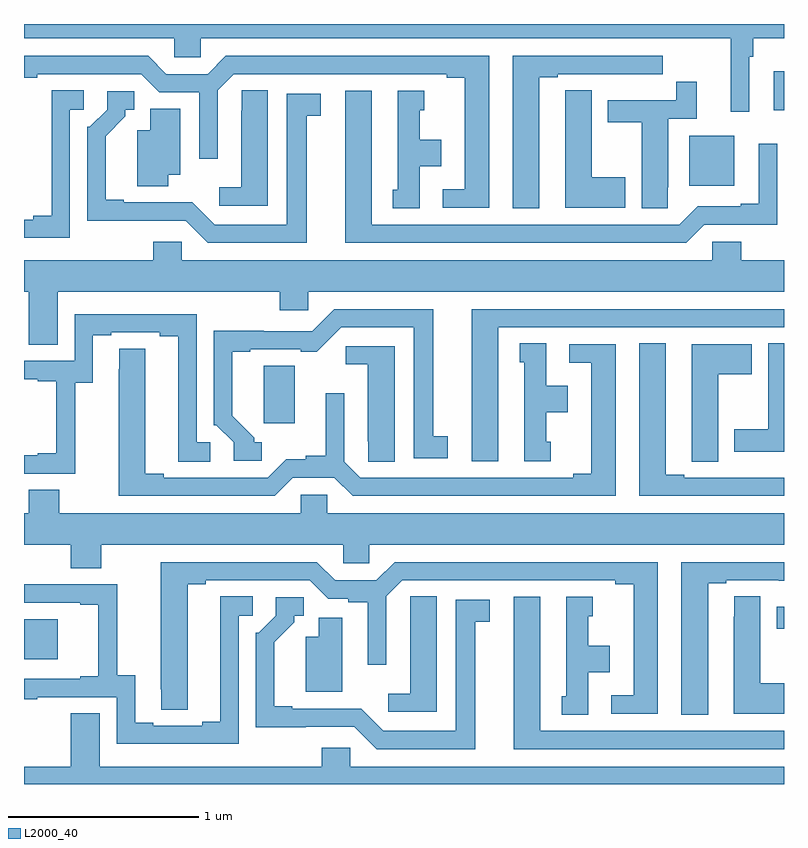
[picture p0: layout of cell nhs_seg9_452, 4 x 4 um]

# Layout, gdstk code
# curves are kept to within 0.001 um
import gdstk
lib = gdstk.Library(unit=1e-6, precision=1e-09)
def R(c, l, rs):  # rectangles x0, y0, x1, y1
    for r in rs: c.add(gdstk.rectangle(r[:2], r[2:], *l))
def P(c, l, *ps):  # polygons
    for p in ps: c.add(gdstk.Polygon(p, *l))
L2000_40 = (2000, 40)

nhs_seg9_452 = lib.new_cell('nhs_seg9_452')
R(nhs_seg9_452, L2000_40, [(133,1189.157,133.177,1189.366), (136.961,1189.318,137,1189.434), (136.502,1191.65,136.738,1191.913), (136.946,1192.046,137,1192.252)])
P(nhs_seg9_452, L2000_40, [(136.818,1192.328),(136.838,1192.328),(136.838,1192.424),(137,1192.424),(137,1192.5),(133,1192.5),(133,1192.424),(133.791,1192.424),(133.791,1192.326),(133.929,1192.326),(133.929,1192.424),(136.721,1192.424),(136.721,1192.038),(136.818,1192.038)],
  [(135.712,1192.221),(135.808,1192.221),(135.808,1192.236),(136.084,1192.236),(136.084,1192.235),(136.25,1192.235),(136.25,1192.236),(136.363,1192.236),(136.363,1192.332),(135.572,1192.332),(135.572,1191.529),(135.712,1191.529)],
  [(135.448,1192.332),(134.063,1192.332),(133.967,1192.236),(133.749,1192.236),(133.653,1192.332),(133,1192.332),(133,1192.216),(133.069,1192.216),(133.069,1192.236),(133.617,1192.236),(133.713,1192.14),(133.923,1192.14),(133.923,1191.792),(134.019,1191.792),(134.019,1192.152),(134.103,1192.236),(135.224,1192.236),(135.224,1192.216),(135.32,1192.216),(135.32,1191.63),(135.204,1191.63),(135.204,1191.534),(135.448,1191.534)],
  [(136.389,1191.64),(136.39,1191.64),(136.39,1192.002),(136.541,1192.002),(136.541,1192.195),(136.432,1192.195),(136.432,1192.098),(136.073,1192.098),(136.073,1191.982),(136.25,1191.982),(136.25,1191.529),(136.389,1191.529)],
  [(134.284,1192.151),(134.145,1192.151),(134.145,1192.043),(134.144,1192.043),(134.144,1191.64),(134.028,1191.64),(134.028,1191.543),(134.284,1191.543)],
  [(136.165,1191.693),(135.988,1191.693),(135.988,1192.151),(135.849,1192.151),(135.849,1192.043),(135.848,1192.043),(135.848,1191.533),(136.165,1191.533)],
  [(133.242,1192.05),(133.315,1192.05),(133.315,1192.151),(133.145,1192.151),(133.145,1191.491),(133.049,1191.491),(133.049,1191.471),(133,1191.471),(133,1191.375),(133.242,1191.375)],
  [(135.082,1191.752),(135.196,1191.752),(135.196,1191.892),(135.082,1191.892),(135.082,1192.047),(135.106,1192.047),(135.106,1192.15),(134.966,1192.15),(134.966,1191.627),(134.942,1191.627),(134.942,1191.529),(135.082,1191.529)],
  [(136.581,1191.444),(136.965,1191.444),(136.965,1191.871),(136.868,1191.871),(136.868,1191.553),(136.772,1191.553),(136.772,1191.54),(136.545,1191.54),(136.449,1191.444),(134.83,1191.444),(134.83,1192.15),(134.69,1192.15),(134.69,1191.348),(136.485,1191.348)],
  [(134.488,1192.018),(134.563,1192.018),(134.563,1192.134),(134.384,1192.134),(134.384,1191.444),(134.004,1191.444),(133.886,1191.562),(133.525,1191.561),(133.525,1191.574),(133.429,1191.574),(133.429,1191.91),(133.534,1192.015),(133.534,1192.05),(133.579,1192.05),(133.579,1192.146),(133.437,1192.146),(133.437,1192.05),(133.347,1191.96),(133.332,1191.96),(133.332,1191.464),(133.851,1191.465),(133.968,1191.348),(134.488,1191.348)],
  [(133.759,1191.707),(133.822,1191.707),(133.822,1192.055),(133.664,1192.055),(133.664,1191.94),(133.595,1191.94),(133.595,1191.646),(133.759,1191.646)],
  [(134.345,1190.994),(134.496,1190.994),(134.496,1191.092),(137,1191.092),(137,1191.256),(136.775,1191.256),(136.775,1191.354),(136.623,1191.354),(136.623,1191.256),(133.83,1191.256),(133.83,1191.354),(133.679,1191.354),(133.679,1191.256),(133,1191.256),(133,1191.092),(133.025,1191.092),(133.025,1190.812),(133.177,1190.812),(133.177,1191.092),(134.345,1191.092)],
  [(134.251,1190.298),(134.212,1190.298),(134.212,1190.322),(134.095,1190.438),(134.095,1190.775),(134.191,1190.775),(134.191,1190.787),(134.456,1190.787),(134.456,1190.776),(134.542,1190.776),(134.67,1190.904),(135.05,1190.904),(135.05,1190.214),(135.229,1190.214),(135.229,1190.33),(135.154,1190.33),(135.154,1191),(134.634,1191),(134.517,1190.883),(134.261,1190.883),(134.261,1190.885),(133.998,1190.885),(133.998,1190.388),(134.013,1190.388),(134.103,1190.298),(134.103,1190.202),(134.251,1190.202)],
  [(135.496,1190.904),(137,1190.904),(137,1191),(135.356,1191),(135.356,1190.199),(135.496,1190.199)],
  [(133.269,1190.611),(133.363,1190.611),(133.363,1190.862),(133.459,1190.862),(133.459,1190.877),(133.715,1190.877),(133.715,1190.857),(133.811,1190.857),(133.811,1190.197),(133.981,1190.197),(133.981,1190.298),(133.908,1190.298),(133.908,1190.973),(133.266,1190.973),(133.266,1190.727),(133,1190.727),(133,1190.631),(133.073,1190.631),(133.073,1190.619),(133.169,1190.619),(133.169,1190.242),(133.073,1190.242),(133.073,1190.229),(133,1190.229),(133,1190.133),(133.269,1190.133)],
  [(137,1190.819),(136.916,1190.819),(136.916,1190.367),(136.739,1190.367),(136.739,1190.25),(137,1190.25)],
  [(137,1190.112),(136.916,1190.112),(136.916,1190.113),(136.75,1190.113),(136.75,1190.112),(136.474,1190.112),(136.474,1190.127),(136.378,1190.127),(136.378,1190.819),(136.238,1190.819),(136.238,1190.016),(137,1190.016)],
  [(135.772,1190.301),(135.748,1190.301),(135.748,1190.456),(135.862,1190.456),(135.862,1190.596),(135.748,1190.596),(135.748,1190.819),(135.608,1190.819),(135.608,1190.721),(135.632,1190.721),(135.632,1190.199),(135.772,1190.199)],
  [(136.654,1190.656),(136.831,1190.656),(136.831,1190.815),(136.514,1190.815),(136.514,1190.305),(136.515,1190.305),(136.515,1190.197),(136.654,1190.197)],
  [(134.415,1190.112),(134.633,1190.112),(134.729,1190.016),(136.114,1190.016),(136.114,1190.814),(135.87,1190.814),(135.87,1190.718),(135.986,1190.718),(135.986,1190.132),(135.89,1190.132),(135.89,1190.112),(134.769,1190.112),(134.685,1190.196),(134.685,1190.557),(134.588,1190.557),(134.588,1190.228),(134.484,1190.228),(134.484,1190.21),(134.381,1190.21),(134.283,1190.112),(133.735,1190.112),(133.735,1190.132),(133.639,1190.132),(133.639,1190.792),(133.5,1190.792),(133.499,1190.016),(134.319,1190.016)],
  [(134.95,1190.805),(134.694,1190.805),(134.694,1190.708),(134.81,1190.708),(134.81,1190.305),(134.811,1190.305),(134.811,1190.197),(134.95,1190.197)],
  [(134.425,1190.544),(134.424,1190.544),(134.424,1190.702),(134.261,1190.702),(134.261,1190.4),(134.425,1190.4)],
  [(133.407,1189.76),(134.679,1189.76),(134.679,1189.662),(134.817,1189.662),(134.817,1189.76),(137,1189.76),(137,1189.924),(134.595,1189.924),(134.595,1190.022),(134.457,1190.022),(134.457,1189.924),(133.185,1189.924),(133.185,1190.048),(133.025,1190.048),(133.025,1189.924),(133,1189.924),(133,1189.76),(133.247,1189.76),(133.247,1189.636),(133.407,1189.636)],
  [(136.336,1189.668),(134.951,1189.668),(134.855,1189.572),(134.637,1189.572),(134.541,1189.668),(133.721,1189.668),(133.722,1188.892),(133.861,1188.892),(133.861,1189.552),(133.957,1189.552),(133.957,1189.572),(134.505,1189.572),(134.601,1189.476),(134.706,1189.476),(134.706,1189.456),(134.81,1189.456),(134.81,1189.128),(134.907,1189.128),(134.907,1189.488),(134.991,1189.572),(136.112,1189.572),(136.112,1189.552),(136.208,1189.552),(136.208,1188.966),(136.092,1188.966),(136.092,1188.87),(136.336,1188.87)],
  [(136.6,1189.557),(136.696,1189.557),(136.696,1189.572),(136.972,1189.572),(136.972,1189.571),(137,1189.571),(137,1189.668),(136.46,1189.668),(136.46,1188.865),(136.6,1188.865)],
  [(134.13,1189.386),(134.203,1189.386),(134.203,1189.487),(134.033,1189.487),(134.033,1188.827),(133.937,1188.827),(133.937,1188.807),(133.681,1188.807),(133.681,1188.822),(133.585,1188.822),(133.585,1189.073),(133.491,1189.073),(133.491,1189.551),(133,1189.551),(133,1189.455),(133.295,1189.455),(133.295,1189.443),(133.391,1189.443),(133.391,1189.066),(133.295,1189.066),(133.295,1189.053),(133,1189.053),(133,1188.945),(133.069,1188.945),(133.069,1188.957),(133.488,1188.957),(133.488,1188.711),(134.13,1188.711)],
  [(135.172,1189.487),(135.033,1189.487),(135.033,1189.379),(135.032,1189.379),(135.032,1188.976),(134.916,1188.976),(134.916,1188.879),(135.172,1188.879)],
  [(137,1189.029),(136.876,1189.029),(136.876,1189.487),(136.737,1189.487),(136.737,1189.379),(136.736,1189.379),(136.736,1188.869),(137,1188.869)],
  [(137,1188.78),(135.718,1188.78),(135.718,1189.486),(135.578,1189.486),(135.578,1188.684),(137,1188.684)],
  [(135.97,1189.088),(136.084,1189.088),(136.084,1189.228),(135.97,1189.228),(135.97,1189.383),(135.994,1189.383),(135.994,1189.486),(135.854,1189.486),(135.854,1188.963),(135.83,1188.963),(135.83,1188.865),(135.97,1188.865)],
  [(135.376,1189.354),(135.451,1189.354),(135.451,1189.47),(135.272,1189.47),(135.272,1188.78),(134.892,1188.78),(134.775,1188.897),(134.413,1188.897),(134.413,1188.91),(134.317,1188.91),(134.317,1189.246),(134.422,1189.351),(134.422,1189.386),(134.472,1189.386),(134.472,1189.482),(134.325,1189.482),(134.325,1189.386),(134.235,1189.296),(134.22,1189.296),(134.22,1188.8),(134.739,1188.801),(134.856,1188.684),(135.376,1188.684)],
  [(134.674,1189.374),(134.552,1189.374),(134.552,1189.276),(134.483,1189.276),(134.483,1188.986),(134.674,1188.986)],
  [(137,1188.592),(134.718,1188.592),(134.718,1188.69),(134.567,1188.69),(134.567,1188.592),(133.399,1188.592),(133.399,1188.872),(133.247,1188.872),(133.247,1188.592),(133,1188.592),(133,1188.5),(137,1188.5)])

lib.write_gds('nhs_seg9_452.gds')
